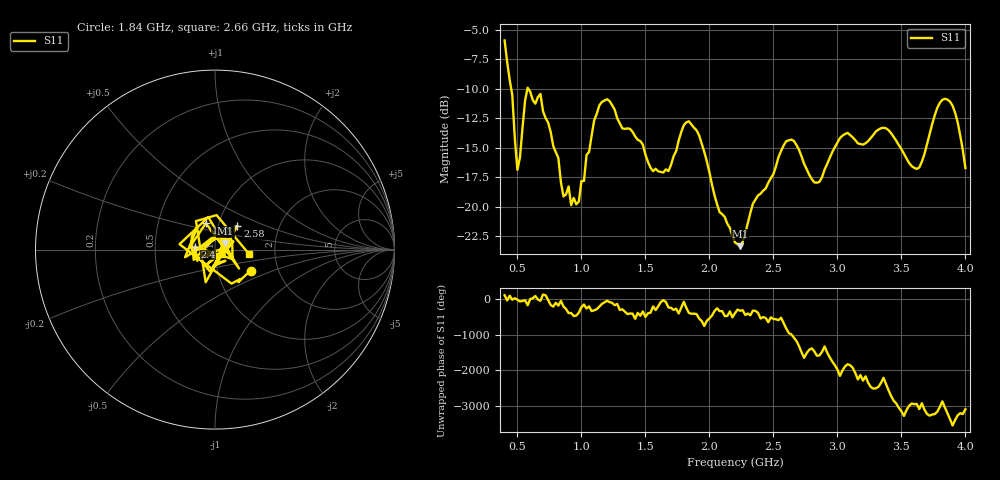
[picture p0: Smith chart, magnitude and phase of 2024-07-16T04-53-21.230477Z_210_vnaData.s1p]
!Created with skrf (http://scikit-rf.org).
# Hz S RI R 50.0
!freq ReS11 ImS11
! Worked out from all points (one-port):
!   181 points, 400 MHz to 4 GHz, reference 50 ohm
!   lowest |S11| = -23.4 dB at 2.24 GHz (marker M1), VSWR 1.15, Z = 56 + j3.95 ohm
!   |S11| at or under -10 dB: 451.4 MHz to 578.5 MHz (127.2 MHz wide, 24.7 % of centre); 584.6 MHz to end of sweep
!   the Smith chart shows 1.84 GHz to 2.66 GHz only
!   S11 on the Smith chart (normalised r, x): 1.84 GHz: 1.44, -0.35; 1.98 GHz: 0.87, +0.26; 2.4 GHz: 0.80, +0.03; 2.58 GHz: 1.23, +0.34; 2.66 GHz: 1.46, -0.07
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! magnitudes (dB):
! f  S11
! 400 MHz  -5.9
! 460 MHz  -10.6
! 500 MHz  -16.9
! 580 MHz  -9.9
! 680 MHz  -10.4
! 820 MHz  -15.9
! 860 MHz  -19.1
! 980 MHz  -19.6
! 1.16 GHz  -11.1
! 1.3 GHz  -13.0
! 1.56 GHz  -17.0
! 1.68 GHz  -17.0
! 1.76 GHz  -14.4
! 1.84 GHz  -12.8
! 1.98 GHz  -16.2
! 2.2 GHz  -23.0
! 2.24 GHz  -23.4
! 2.4 GHz  -18.9
! 2.58 GHz  -14.8
! 2.66 GHz  -14.4
! 2.84 GHz  -18.0
! 3.1 GHz  -13.9
! 3.38 GHz  -13.4
! 3.56 GHz  -16.3
! 3.64 GHz  -16.7
! 3.84 GHz  -10.9
! 3.92 GHz  -12.1
! 4 GHz  -16.7
